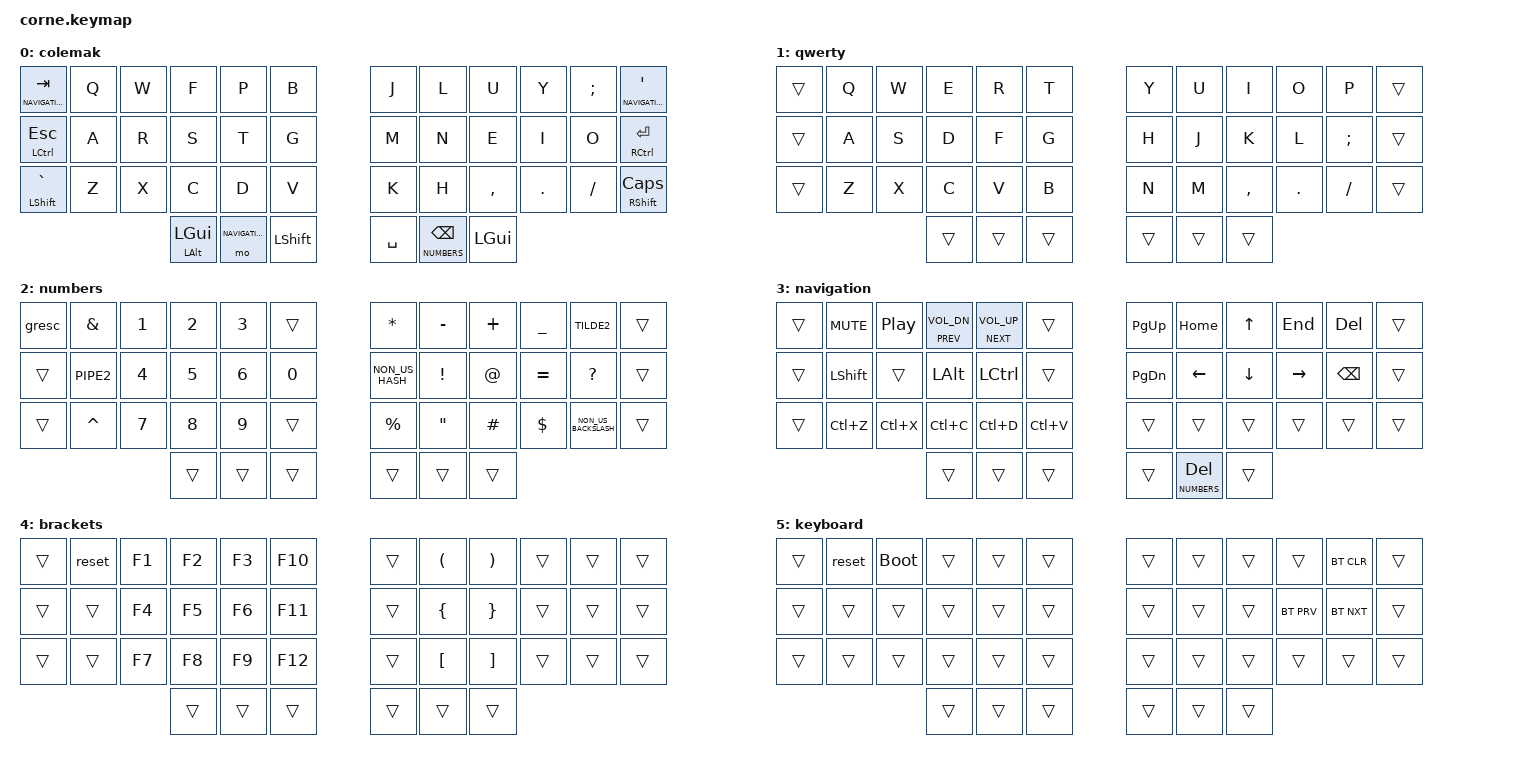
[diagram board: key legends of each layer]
/*
 * Copyright (c) 2020 The ZMK Contributors
 *
 * SPDX-License-Identifier: MIT
 */

#include <behaviors.dtsi>
#include <dt-bindings/zmk/keys.h>
#include <dt-bindings/zmk/bt.h>

#define COLEMAK 0
#define QWERTY 1
#define NUMBERS 2
#define NAVIGATION 3
#define BRACKETS 4
#define DEBUG 5

/ {
    conditional_layers {
        compatible = "zmk,conditional-layers";
        tri_layer {
            if-layers = <2 3>;
            then-layer = <4>;
        };
    };
};

/ {
        keymap {
                compatible = "zmk,keymap";

                colemak {
                        bindings = <
&lt NAVIGATION TAB &kp Q &kp W &kp F &kp P &kp B &kp J &kp L &kp U &kp Y &kp SEMICOLON &lt NAVIGATION SINGLE_QUOTE
&mt LCTRL ESC &kp A &kp R &kp S &kp T &kp G &kp M &kp N &kp E &kp I &kp O &mt RIGHT_CONTROL RETURN
&mt LSHIFT GRAVE &kp Z &kp X &kp C &kp D &kp V &kp K &kp H &kp COMMA &kp DOT &kp FSLH &mt RIGHT_SHIFT CAPSLOCK
                  &mt LEFT_ALT LGUI &mo NAVIGATION &kp LSHIFT           &kp SPACE &lt NUMBERS BACKSPACE &kp LGUI
                        >;
                };

        qwerty {
            bindings = <
&trans &kp Q &kp W &kp E &kp R &kp T &kp Y &kp U &kp I &kp O &kp P &trans
&trans &kp A &kp S &kp D &kp F &kp G &kp H &kp J &kp K &kp L &kp SEMI &trans
&trans &kp Z &kp X &kp C &kp V &kp B &kp N &kp M &kp COMMA  &kp DOT &kp FSLH &trans
                          	        &trans     &trans       &trans      &trans  &trans   &trans
            >;
        };

                numbers {
                        bindings = <
&gresc &kp AMPERSAND &kp NUMBER_1 &kp NUMBER_2 &kp NUMBER_3 &trans &kp ASTERISK &kp MINUS &kp PLUS &kp UNDERSCORE &kp TILDE2 &trans
&trans &kp PIPE2 &kp NUMBER_4 &kp NUMBER_5 &kp NUMBER_6 &kp NUMBER_0 &kp NON_US_HASH &kp EXCLAMATION &kp AT_SIGN &kp EQUAL &kp QMARK &trans
&trans &kp CARET &kp NUMBER_7 &kp NUMBER_8 &kp NUMBER_9 &trans &kp PERCENT &kp DOUBLE_QUOTES &kp HASH &kp DOLLAR &kp NON_US_BACKSLASH &trans
                          	        &trans     &trans       &trans      &trans  &trans   &trans
                        >;
                };

                navigation {
                        bindings = <
&trans &kp C_MUTE &kp C_PLAY_PAUSE &mt C_PREV C_VOL_DN &mt C_NEXT C_VOL_UP &trans &kp PAGE_UP &kp HOME &kp UP_ARROW &kp END &kp DELETE &trans
&trans &kp LSHIFT &trans &kp LEFT_ALT &kp LCTRL &trans &kp PG_DN &kp LEFT_ARROW &kp DOWN_ARROW &kp RIGHT &kp BACKSPACE &trans
&trans &kp LC(Z) &kp LC(X) &kp LC(C) &kp LC(D) &kp LC(V) &trans &trans &trans &trans &trans &trans
                    	     &trans     &trans       &trans  &trans    &lt NUMBERS DELETE   &trans
                        >;
                };

        brackets {
            bindings = <
&trans &reset &kp F1 &kp F2 &kp F3 &kp F10 &trans &kp LEFT_PARENTHESIS &kp RIGHT_PARENTHESIS &trans &trans &trans
&trans &trans &kp F4 &kp F5 &kp F6 &kp F11 &trans &kp LEFT_BRACE &kp RIGHT_BRACE &trans &trans &trans
&trans &trans &kp F7 &kp F8 &kp F9 &kp F12 &trans &kp LEFT_BRACKET &kp RIGHT_BRACKET &trans &trans &trans
                    	     &trans     &trans       &trans      &trans  &trans   &trans
            >;
        };
        keyboard {
            bindings = <
&trans &reset &bootloader &trans &trans &trans &trans &trans &trans &trans &bt BT_CLR &trans
&trans &trans &trans &trans &trans &trans &trans &trans &trans &bt BT_PRV &bt BT_NXT &trans
&trans &trans &trans &trans &trans &trans &trans &trans &trans &trans &trans &trans
                    	     &trans     &trans       &trans      &trans  &trans   &trans
            >;
        };
    };
};
